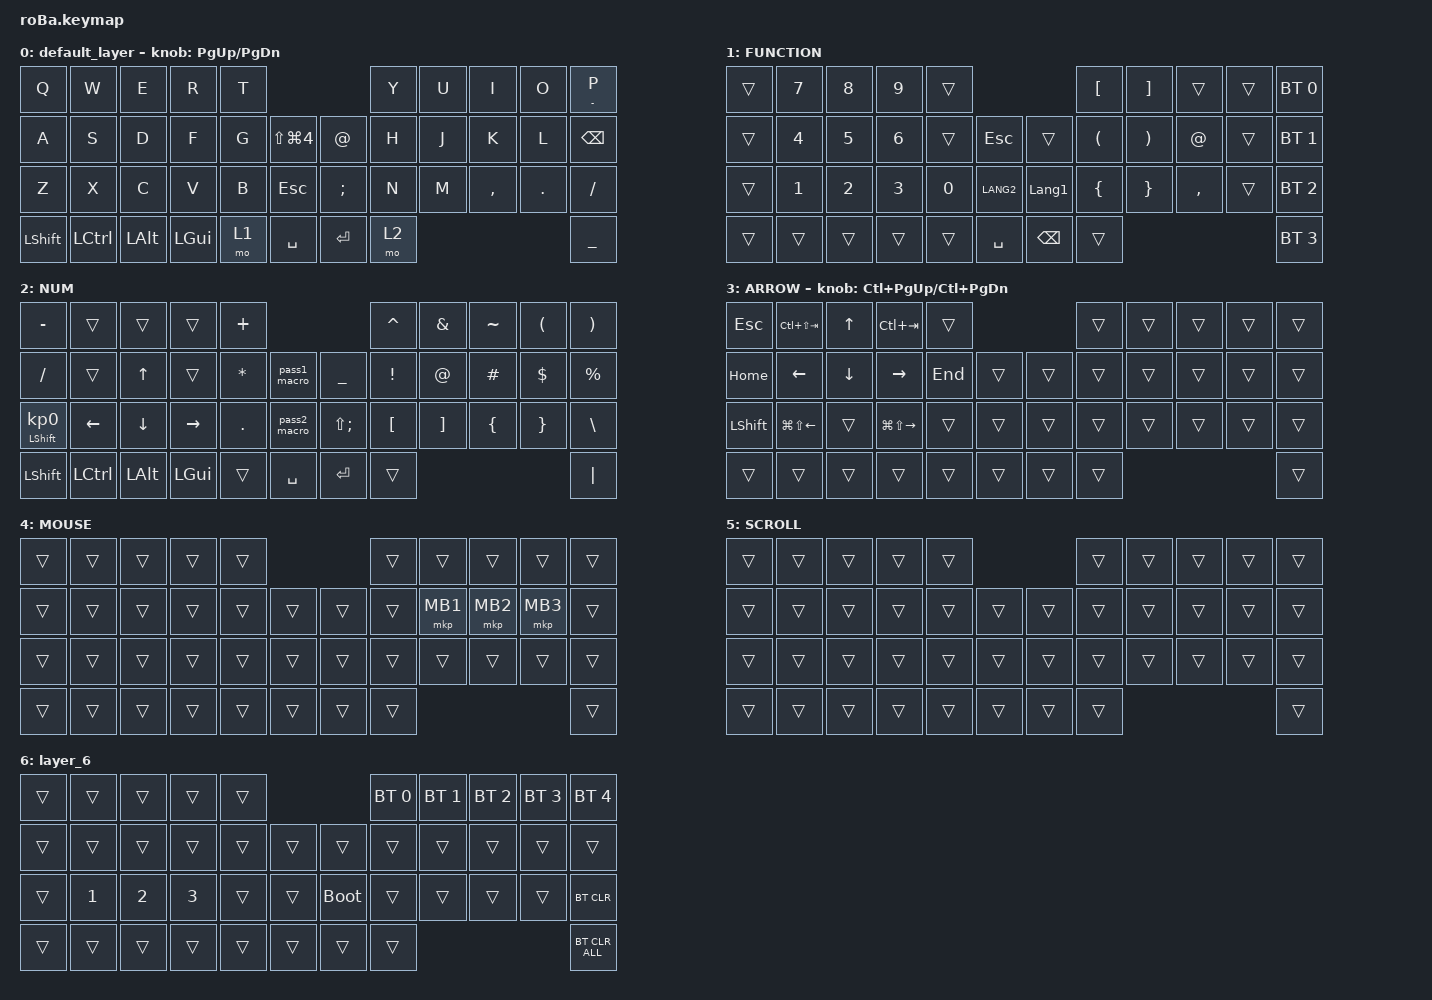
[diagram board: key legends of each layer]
#include <behaviors.dtsi>
#include <dt-bindings/zmk/bt.h>
#include <dt-bindings/zmk/keys.h>
#include <dt-bindings/zmk/pointing.h>

&mt {
    flavor = "balanced";
    quick-tap-ms = <0>;
};

&trackball {
    automouse-layer = <4>;
    scroll-layers = <5>;

    // arrows {
    //     layers = <3>;
    //     bindings =
    //         <&kp RIGHT_ARROW>,
    //         <&kp LEFT_ARROW>,
    //         <&kp UP_ARROW>,
    //         <&kp DOWN_ARROW>;
    //     tick = <10>;
    //     wait-ms = <5>;
    //     tap-ms = <5>;
    // };
};

/ {
    combos {
        compatible = "zmk,combos";

        tab {
            bindings = <&kp TAB>;
            key-positions = <11 12>;
        };

        shift_tab {
            bindings = <&kp LS(TAB)>;
            key-positions = <12 13>;
        };

        muhennkann {
            bindings = <&to_layer_0 INT_MUHENKAN>;
            key-positions = <11 10>;
        };

        double_quotation {
            bindings = <&kp DOUBLE_QUOTES>;
            key-positions = <20 21>;
        };

        eq {
            bindings = <&kp EQUAL>;
            key-positions = <24 25>;
        };
    };

    macros {
        to_layer_0: to_layer_0 {
            compatible = "zmk,behavior-macro-one-param";
            #binding-cells = <1>;
            bindings = <&to 0 &macro_param_1to1 &kp MACRO_PLACEHOLDER>;
            label = "TO_LAYER_0";
        };

        pass1_macro: pass1_macro {
            compatible = "zmk,behavior-macro";
            #binding-cells = <0>;
            wait-ms = <10>;
            tap-ms = <10>;
            bindings = <&kp T &kp A &kp K &kp U &kp M &kp I &kp M &kp O &kp G &kp U>;
            label = "PASS1_MACRO";
        };

        pass2_macro: pass2_macro {
            compatible = "zmk,behavior-macro";
            #binding-cells = <0>;
            wait-ms = <10>;
            tap-ms = <10>;
            bindings = <&kp LS(T) &kp A &kp K &kp U &kp M &kp I &kp M &kp O &kp G &kp U &kp N2 &kp N2 &kp N0>;
            label = "PASS2_MACRO";
        };
    };

    behaviors {
        lt_to_layer_0: lt_to_layer_0 {
            compatible = "zmk,behavior-hold-tap";
            label = "LAYER_TAP_TO_0";
            bindings = <&mo>, <&to_layer_0>;

            #binding-cells = <2>;
            tapping-term-ms = <200>;
        };
    };

    keymap {
        compatible = "zmk,keymap";

        default_layer {
            bindings = <
&kp Q           &kp W             &kp E         &kp R         &kp T                                           &kp Y  &kp U  &kp I      &kp O    &mt MINUS P
&kp A           &kp S             &kp D         &kp F         &kp G  &kp LS(LG(NUMBER_4))      &kp AT         &kp H  &kp J  &kp K      &kp L    &kp BACKSPACE
&kp Z           &kp X             &kp C         &kp V         &kp B  &kp ESCAPE                &kp SEMICOLON  &kp N  &kp M  &kp COMMA  &kp DOT  &kp SLASH
&kp LEFT_SHIFT  &kp LEFT_CONTROL  &kp LEFT_ALT  &kp LEFT_GUI  &mo 1  &kp SPACE                 &kp ENTER      &mo 2                             &kp UNDER
            >;

            sensor-bindings = <&inc_dec_kp PG_UP PAGE_DOWN>;
        };

        FUNCTION {
            bindings = <
&trans  &kp N7        &kp N8        &kp N9        &trans                                       &kp LEFT_BRACKET      &kp RIGHT_BRACKET      &trans     &trans  &bt BT_SEL 0
&trans  &kp NUMBER_4  &kp N5        &kp NUMBER_6  &trans        &kp ESC        &trans          &kp LEFT_PARENTHESIS  &kp RIGHT_PARENTHESIS  &kp AT     &trans  &bt BT_SEL 1
&trans  &kp NUMBER_1  &kp NUMBER_2  &kp NUMBER_3  &kp NUMBER_0  &kp LANG2      &kp LANGUAGE_1  &kp LEFT_BRACE        &kp RIGHT_BRACE        &kp COMMA  &trans  &bt BT_SEL 2
&trans  &trans        &trans        &trans        &trans        &kp SPACE      &kp BACKSPACE   &trans                                                          &bt BT_SEL 3
            >;
        };

        NUM {
            bindings = <
&kp MINUS                   &trans            &trans          &trans        &kp PLUS                                        &kp CARET         &kp AMPERSAND      &kp TILDE       &kp LEFT_PARENTHESIS  &kp RIGHT_PARENTHESIS
&kp SLASH                   &trans            &kp UP_ARROW    &trans        &kp ASTERISK  &pass1_macro      &kp UNDERSCORE  &kp EXCLAMATION   &kp AT_SIGN        &kp HASH        &kp DOLLAR            &kp PERCENT
&mt LEFT_SHIFT KP_NUMBER_0  &kp LEFT_ARROW    &kp DOWN_ARROW  &kp RIGHT     &kp PERIOD    &pass2_macro      &kp LS(SEMI)    &kp LEFT_BRACKET  &kp RIGHT_BRACKET  &kp LEFT_BRACE  &kp RIGHT_BRACE       &kp BACKSLASH
&kp LEFT_SHIFT              &kp LEFT_CONTROL  &kp LEFT_ALT    &kp LEFT_GUI  &trans        &kp SPACE         &kp RET         &trans                                                                     &kp PIPE
            >;
        };

        ARROW {
            bindings = <
&kp ESCAPE      &kp LC(LS(TAB))         &kp UP_ARROW    &kp LC(TAB)              &trans                       &trans  &trans  &trans  &trans  &trans
&kp HOME        &kp LEFT_ARROW          &kp DOWN_ARROW  &kp RIGHT_ARROW          &kp END  &trans      &trans  &trans  &trans  &trans  &trans  &trans
&kp LEFT_SHIFT  &kp LG(LS(LEFT_ARROW))  &trans          &kp LG(LS(RIGHT_ARROW))  &trans   &trans      &trans  &trans  &trans  &trans  &trans  &trans
&trans          &trans                  &trans          &trans                   &trans   &trans      &trans  &trans                          &trans
            >;

            sensor-bindings = <&inc_dec_kp LC(PAGE_UP) LC(PAGE_DOWN)>;
        };

        MOUSE {
            bindings = <
&trans  &trans  &trans  &trans  &trans                      &trans  &trans    &trans    &trans    &trans
&trans  &trans  &trans  &trans  &trans  &trans      &trans  &trans  &mkp MB1  &mkp MB2  &mkp MB3  &trans
&trans  &trans  &trans  &trans  &trans  &trans      &trans  &trans  &trans    &trans    &trans    &trans
&trans  &trans  &trans  &trans  &trans  &trans      &trans  &trans                                &trans
            >;
        };

        SCROLL {
            bindings = <
&trans  &trans  &trans  &trans  &trans                      &trans  &trans  &trans  &trans  &trans
&trans  &trans  &trans  &trans  &trans  &trans      &trans  &trans  &trans  &trans  &trans  &trans
&trans  &trans  &trans  &trans  &trans  &trans      &trans  &trans  &trans  &trans  &trans  &trans
&trans  &trans  &trans  &trans  &trans  &trans      &trans  &trans                          &trans
            >;
        };

        layer_6 {
            bindings = <
&trans  &trans        &trans        &trans        &trans                           &bt BT_SEL 0  &bt BT_SEL 1  &bt BT_SEL 2  &bt BT_SEL 3  &bt BT_SEL 4
&trans  &trans        &trans        &trans        &trans  &trans      &trans       &trans        &trans        &trans        &trans        &trans
&trans  &kp NUMBER_1  &kp NUMBER_2  &kp NUMBER_3  &trans  &trans      &bootloader  &trans        &trans        &trans        &trans        &bt BT_CLR
&trans  &trans        &trans        &trans        &trans  &trans      &trans       &trans                                                  &bt BT_CLR_ALL
            >;
        };
    };
};
